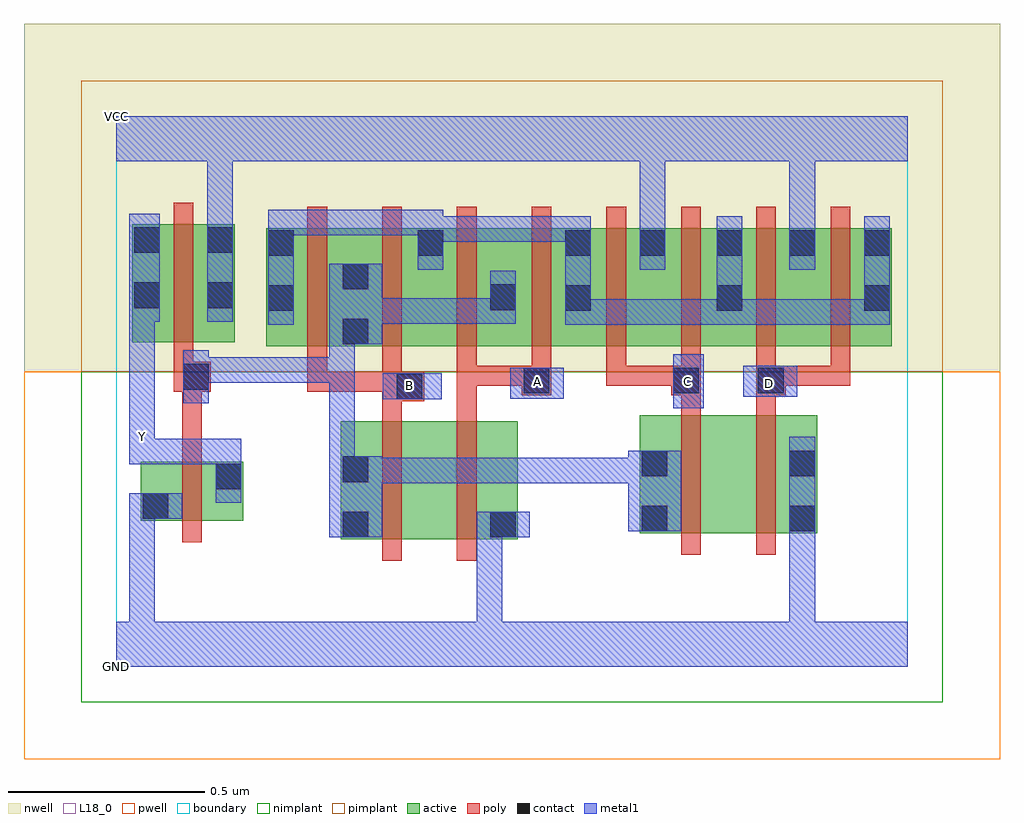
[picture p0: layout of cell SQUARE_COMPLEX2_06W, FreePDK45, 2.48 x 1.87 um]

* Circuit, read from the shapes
.subckt SQUARE_COMPLEX2_06W A B C D GND VCC Y
M1 Y n1 GND VSUBS nfet w=0.15u l=0.05u
M2 n2 B n1 VSUBS nfet w=0.3u l=0.05u
M3 GND A n2 VSUBS nfet w=0.3u l=0.05u
M4 n3 C n1 VSUBS nfet w=0.3u l=0.05u
M5 GND D n3 VSUBS nfet w=0.3u l=0.05u
M6 VCC n1 Y n4 pfet w=0.3u l=0.05u
M7 n1 B n5 n4 pfet w=0.3u l=0.05u m=2
M8 n1 A n5 n4 pfet w=0.3u l=0.05u m=2
M9 VCC C n5 n4 pfet w=0.3u l=0.05u m=2
M10 VCC D n5 n4 pfet w=0.3u l=0.05u m=2
.ends

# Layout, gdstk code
import gdstk
lib = gdstk.Library(unit=1e-6, precision=1e-09)
def R(c, l, rs):  # rectangles x0, y0, x1, y1
    for r in rs: c.add(gdstk.rectangle(r[:2], r[2:], *l))
def A(c, l, x, y, w, h, nx, ny, dx, dy):  # array of equal rectangles
    R(c, l, [(x+i*dx, y+j*dy, x+i*dx+w, y+j*dy+h) for i in range(nx) for j in range(ny)])
active = (1, 0)
pwell = (2, 0)
nwell = (3, 0)
nimplant = (4, 0)
pimplant = (5, 0)
poly = (9, 0)
contact = (10, 0)
metal1 = (11, 0)
L18_0 = (18, 0)
boundary = (235, 0)

square_complex2_06w = lib.new_cell('SQUARE_COMPLEX2_06W')
R(square_complex2_06w, active, [(0.57,0.325,0.645,0.625), (0.57,0.325,0.795,0.625), (0.795,0.325,1.02,0.625), (0.945,0.325,1.02,0.625), (1.33,0.34,1.405,0.64), (1.33,0.34,1.555,0.64), (1.555,0.34,1.78,0.64), (1.705,0.34,1.78,0.64), (0.062,0.372,0.137,0.522), (0.062,0.372,0.322,0.522), (0.247,0.372,0.322,0.522), (0.38,0.815,0.455,1.115), (0.38,0.815,0.645,1.115), (0.57,0.815,0.835,1.115), (0.57,0.815,0.645,1.07), (0.76,0.815,1.02,1.115), (0.945,0.815,1.21,1.115), (1.135,0.815,1.21,1.115), (1.135,0.815,1.4,1.115), (1.325,0.815,1.595,1.115), (1.52,0.815,1.595,1.115), (1.52,0.815,1.78,1.115), (1.705,0.815,1.97,1.115), (1.895,0.815,1.97,1.115), (0.04,0.825,0.3,1.125), (0.04,0.825,0.115,1.122), (0.225,0.825,0.3,1.125), (0.945,0.902,1.02,1.07), (0.76,0.995,0.835,1.115), (1.325,0.995,1.4,1.115), (1.705,0.995,1.78,1.115)])
R(square_complex2_06w, pwell, [(-0.235,-0.235,2.245,0.75)])
R(square_complex2_06w, nwell, [(-0.235,0.75,2.245,1.635)])
R(square_complex2_06w, nimplant, [(-0.09,-0.09,2.1,0.75)])
R(square_complex2_06w, pimplant, [(-0.09,0.75,2.1,1.49)])
A(square_complex2_06w, poly, 0.865, 0.715, 0.05, 0.095, 6, 1, 0.19, 0)
A(square_complex2_06w, poly, 0.485, 0.76, 0.05, 0.41, 8, 1, 0.19, 0)
R(square_complex2_06w, poly, [(0.675,0.27,0.725,0.68), (0.865,0.27,0.915,0.68), (1.435,0.285,1.485,0.695), (1.625,0.285,1.675,0.695), (0.167,0.317,0.217,0.577), (0.167,0.527,0.217,0.75), (0.675,0.63,0.725,0.725), (0.865,0.63,0.915,0.765), (1.435,0.645,1.485,0.74), (1.625,0.645,1.675,0.74), (0.675,0.675,0.782,0.75), (1.03,0.69,1.105,0.765), (1.41,0.69,1.485,0.765), (1.625,0.69,1.7,0.765), (0.145,0.7,0.24,0.775), (0.485,0.7,0.535,0.75), (0.485,0.7,0.535,0.81), (0.485,0.7,0.725,0.75), (0.675,0.7,0.725,0.75), (0.675,0.7,0.725,0.75), (0.675,0.7,0.725,0.81), (0.865,0.715,0.915,0.765), (0.865,0.715,1.08,0.765), (1.03,0.715,1.08,0.765), (1.03,0.715,1.08,0.765), (1.245,0.715,1.295,0.765), (1.245,0.715,1.295,0.765), (1.245,0.715,1.295,0.765), (1.245,0.715,1.46,0.765), (1.65,0.715,1.865,0.765), (1.815,0.715,1.865,0.765), (1.815,0.715,1.865,0.765), (1.815,0.715,1.865,0.765), (0.145,0.725,0.195,0.82), (0.145,0.77,0.195,1.18)])
R(square_complex2_06w, contact, [(0.575,0.33,0.64,0.395), (0.95,0.33,1.015,0.395), (1.335,0.345,1.4,0.41), (1.71,0.345,1.775,0.41), (0.067,0.377,0.132,0.442), (0.252,0.452,0.317,0.517), (0.575,0.47,0.64,0.535), (1.335,0.485,1.4,0.55), (1.71,0.485,1.775,0.55), (0.712,0.68,0.777,0.745), (1.035,0.695,1.1,0.76), (1.415,0.695,1.48,0.76), (1.63,0.695,1.695,0.76), (0.17,0.705,0.235,0.77), (0.575,0.82,0.64,0.885), (0.385,0.905,0.45,0.97), (1.14,0.905,1.205,0.97), (1.525,0.905,1.59,0.97), (1.9,0.905,1.965,0.97), (0.95,0.907,1.015,0.972), (0.045,0.912,0.11,0.977), (0.23,0.912,0.295,0.977), (0.575,0.96,0.64,1.025), (0.385,1.045,0.45,1.11), (0.765,1.045,0.83,1.11), (1.14,1.045,1.205,1.11), (1.33,1.045,1.395,1.11), (1.525,1.045,1.59,1.11), (1.71,1.045,1.775,1.11), (1.9,1.045,1.965,1.11), (0.045,1.052,0.11,1.117), (0.23,1.052,0.295,1.117)])
R(square_complex2_06w, metal1, [(0,0,2.01,0.115), (0.032,0.05,0.097,0.115), (0.032,0.05,0.097,0.115), (0.032,0.05,0.097,0.115), (0.032,0.05,0.097,0.115), (0.032,0.05,0.097,0.115), (0.032,0.05,0.097,0.115), (0.032,0.05,0.097,0.442), (0.915,0.05,0.98,0.115), (0.915,0.05,0.98,0.115), (0.915,0.05,0.98,0.395), (1.71,0.05,1.775,0.115), (1.71,0.05,1.775,0.115), (1.71,0.05,1.775,0.115), (1.71,0.05,1.775,0.115), (1.71,0.05,1.775,0.375), (1.71,0.31,1.775,0.585), (0.54,0.33,0.675,0.535), (0.915,0.33,0.98,0.395), (0.915,0.33,0.98,0.395), (0.915,0.33,1.05,0.395), (1.3,0.345,1.435,0.55), (0.032,0.377,0.167,0.442), (0.252,0.417,0.317,0.58), (0.61,0.467,0.675,0.532), (0.61,0.467,0.675,0.532), (0.61,0.467,0.83,0.532), (0.765,0.467,0.83,0.532), (0.765,0.467,0.83,0.532), (0.765,0.467,0.83,0.532), (0.765,0.467,1.067,0.532), (1.002,0.467,1.067,0.532), (1.002,0.467,1.067,0.532), (1.002,0.467,1.067,0.532), (1.002,0.467,1.227,0.532), (1.162,0.467,1.227,0.532), (1.162,0.467,1.227,0.532), (1.162,0.467,1.227,0.532), (1.162,0.467,1.365,0.532), (0.54,0.47,0.605,0.787), (0.032,0.515,0.317,0.58), (0.032,0.515,0.097,0.582), (0.032,0.517,0.097,0.582), (0.032,0.517,0.097,0.582), (0.032,0.517,0.097,0.582), (0.032,0.517,0.097,0.652), (0.032,0.587,0.097,0.942), (1.415,0.657,1.492,0.795), (0.17,0.67,0.235,0.805), (0.677,0.68,0.827,0.747), (1,0.682,1.137,0.76), (1.592,0.687,1.73,0.765), (0.17,0.722,0.235,0.787), (0.17,0.722,0.235,0.787), (0.17,0.722,0.432,0.787), (0.367,0.722,0.432,0.787), (0.367,0.722,0.432,0.787), (0.367,0.722,0.432,0.787), (0.367,0.722,0.605,0.787), (0.54,0.722,0.605,0.787), (0.54,0.722,0.605,0.885), (0.54,0.82,0.675,1.025), (0.385,0.87,0.45,1.145), (1.14,0.87,1.205,0.935), (1.14,0.87,1.205,0.935), (1.14,0.87,1.205,0.935), (1.14,0.87,1.205,0.935), (1.14,0.87,1.205,1.145), (1.14,0.87,1.452,0.935), (1.387,0.87,1.452,0.935), (1.387,0.87,1.452,0.935), (1.387,0.87,1.452,0.935), (1.387,0.87,1.59,0.935), (1.525,0.87,1.59,0.935), (1.525,0.87,1.59,0.935), (1.525,0.87,1.59,1.145), (1.525,0.87,1.727,0.935), (1.662,0.87,1.727,0.935), (1.662,0.87,1.965,0.935), (1.9,0.87,1.965,0.935), (1.9,0.87,1.965,0.935), (1.9,0.87,1.965,1.145), (0.61,0.872,0.675,0.937), (0.61,0.872,0.675,0.937), (0.61,0.872,0.83,0.937), (0.765,0.872,0.83,0.937), (0.765,0.872,0.83,0.937), (0.765,0.872,0.83,0.937), (0.765,0.872,1.015,0.937), (0.95,0.872,1.015,1.007), (0.032,0.877,0.11,1.152), (0.23,0.877,0.295,1.152), (0.765,1.01,0.83,1.162), (1.33,1.01,1.395,1.145), (1.71,1.01,1.775,1.145), (0.385,1.08,0.45,1.145), (0.385,1.08,0.45,1.162), (0.765,1.08,0.83,1.145), (0.765,1.08,0.83,1.145), (0.765,1.08,1.067,1.145), (1.002,1.08,1.067,1.145), (1.002,1.08,1.067,1.145), (1.002,1.08,1.067,1.145), (1.002,1.08,1.205,1.145), (1.33,1.08,1.395,1.35), (1.71,1.08,1.775,1.35), (0.23,1.087,0.295,1.35), (0.385,1.097,0.69,1.162), (0.625,1.097,0.69,1.162), (0.625,1.097,0.69,1.162), (0.625,1.097,0.69,1.162), (0.625,1.097,0.83,1.162), (0,1.285,2.01,1.4), (0.23,1.285,0.295,1.35), (0.23,1.285,0.295,1.35), (1.33,1.285,1.395,1.35), (1.33,1.285,1.395,1.35), (1.71,1.285,1.775,1.35), (1.71,1.285,1.775,1.35)])
R(square_complex2_06w, L18_0, [(0,0,2.01,0.115), (0.032,0.05,0.097,0.115), (0.032,0.05,0.097,0.115), (0.032,0.05,0.097,0.115), (0.032,0.05,0.097,0.115), (0.032,0.05,0.097,0.115), (0.032,0.05,0.097,0.115), (0.032,0.05,0.097,0.442), (0.915,0.05,0.98,0.115), (0.915,0.05,0.98,0.115), (0.915,0.05,0.98,0.395), (1.71,0.05,1.775,0.115), (1.71,0.05,1.775,0.115), (1.71,0.05,1.775,0.115), (1.71,0.05,1.775,0.115), (1.71,0.05,1.775,0.375), (1.71,0.31,1.775,0.585), (0.915,0.33,0.98,0.395), (0.915,0.33,0.98,0.395), (0.915,0.33,1.05,0.395), (0.032,0.377,0.167,0.442), (0.252,0.417,0.317,0.58), (0.032,0.515,0.097,0.582), (0.032,0.515,0.317,0.58), (0.032,0.517,0.097,0.582), (0.032,0.517,0.097,0.582), (0.032,0.517,0.097,0.582), (0.032,0.517,0.097,0.652), (0.032,0.552,0.097,0.617), (0.032,0.587,0.097,0.942), (1.415,0.657,1.492,0.795), (0.677,0.68,0.827,0.747), (0.712,0.682,0.777,0.747), (1,0.682,1.137,0.76), (1.592,0.687,1.73,0.765), (1.627,0.687,1.692,0.752), (1.037,0.692,1.102,0.757), (1.417,0.692,1.482,0.757), (0.032,0.877,0.11,1.152), (0.23,0.877,0.295,1.152), (1.33,1.01,1.395,1.145), (1.71,1.01,1.775,1.145), (1.33,1.08,1.395,1.35), (1.71,1.08,1.775,1.35), (0.23,1.087,0.295,1.35), (0,1.285,2.01,1.4), (0.23,1.285,0.295,1.35), (0.23,1.285,0.295,1.35), (1.33,1.285,1.395,1.35), (1.33,1.285,1.395,1.35), (1.71,1.285,1.775,1.35), (1.71,1.285,1.775,1.35)])
R(square_complex2_06w, boundary, [(0,0,2.01,1.4)])
square_complex2_06w.add(gdstk.Label('A', (1.07,0.725), layer=11, texttype=0))
square_complex2_06w.add(gdstk.Label('B', (0.745,0.715), layer=11, texttype=0))
square_complex2_06w.add(gdstk.Label('C', (1.45,0.725), layer=11, texttype=0))
square_complex2_06w.add(gdstk.Label('D', (1.66,0.72), layer=11, texttype=0))
square_complex2_06w.add(gdstk.Label('Y', (0.065,0.585), layer=11, texttype=0))
square_complex2_06w.add(gdstk.Label('VCC', (0,1.4), layer=11, texttype=0))
square_complex2_06w.add(gdstk.Label('GND', (0,0), layer=11, texttype=0))

lib.write_gds('SQUARE_COMPLEX2_06W.gds')
